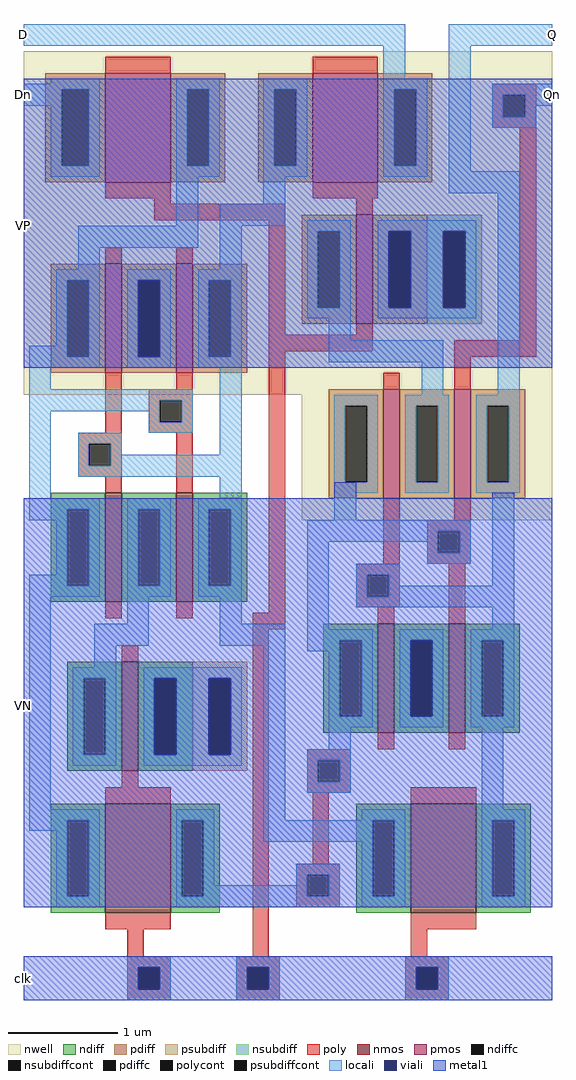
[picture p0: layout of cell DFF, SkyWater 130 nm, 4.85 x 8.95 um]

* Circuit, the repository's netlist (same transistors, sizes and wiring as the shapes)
* SPICE3 file created from DFF.ext - technology: sky130A


* Top level circuit DFF

X0 a_n450_100# a_n500_n700# a_n470_n440# VN sky130_fd_pr__nfet_01v8 ad=1e+12p pd=6e+06u as=1e+12p ps=6e+06u w=1e+06u l=150000u
X1 VN Q Qn VN sky130_fd_pr__nfet_01v8 ad=1e+12p pd=6e+06u as=9.5e+11p ps=5.9e+06u w=1e+06u l=150000u
X2 a_n40_380# Q Qn VP sky130_fd_pr__pfet_01v8 ad=1e+12p pd=6e+06u as=5e+11p ps=3e+06u w=1e+06u l=150000u
X3 Q Qn a_n40_380# VP sky130_fd_pr__pfet_01v8 ad=5e+11p pd=3e+06u as=0p ps=0u w=1e+06u l=150000u
X4 Qn clk a_n500_n700# VN sky130_fd_pr__nfet_01v8 ad=0p pd=0u as=1e+12p ps=6e+06u w=1e+06u l=600000u
X5 VP clk a_n40_380# VP sky130_fd_pr__pfet_01v8 ad=1e+12p pd=6e+06u as=0p ps=0u w=1e+06u l=150000u
X6 a_n450_100# a_n500_n700# VP VP sky130_fd_pr__pfet_01v8 ad=1e+12p pd=6e+06u as=0p ps=0u w=1e+06u l=150000u
X7 a_n470_n440# a_n450_100# a_n500_n700# VN sky130_fd_pr__nfet_01v8 ad=0p pd=0u as=0p ps=0u w=1e+06u l=150000u
X8 Q Qn VN VN sky130_fd_pr__nfet_01v8 ad=1e+12p pd=6e+06u as=0p ps=0u w=1e+06u l=150000u
X9 VP a_n450_100# a_n500_n700# VP sky130_fd_pr__pfet_01v8 ad=0p pd=0u as=1e+12p ps=6e+06u w=1e+06u l=150000u
X10 Q clk a_n450_100# VN sky130_fd_pr__nfet_01v8 ad=0p pd=0u as=0p ps=0u w=1e+06u l=600000u
X11 a_n500_n700# clk Dn VP sky130_fd_pr__pfet_01v8 ad=0p pd=0u as=5.5e+11p ps=3.1e+06u w=1e+06u l=600000u
X12 VN clk a_n470_n440# VN sky130_fd_pr__nfet_01v8 ad=0p pd=0u as=0p ps=0u w=1e+06u l=150000u
X13 D clk a_n450_100# VP sky130_fd_pr__pfet_01v8 ad=5e+11p pd=3e+06u as=0p ps=0u w=1e+06u l=600000u
.end

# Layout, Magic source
magic
tech sky130A
<< nwell >>
rect -275 125 210 440
rect -20 10 210 125
<< nmos >>
rect -200 -65 -185 35
rect -135 -65 -120 35
rect -185 -220 -170 -120
rect -200 -350 -140 -250
rect 50 -185 65 -85
rect 115 -185 130 -85
rect 80 -350 140 -250
<< pmos >>
rect -200 320 -140 420
rect -10 320 50 420
rect -200 145 -185 245
rect -135 145 -120 245
rect 30 190 45 290
rect 55 30 70 130
rect 120 30 135 130
<< ndiff >>
rect -250 20 -200 35
rect -250 -50 -235 20
rect -215 -50 -200 20
rect -250 -65 -200 -50
rect -185 20 -135 35
rect -185 -50 -170 20
rect -150 -50 -135 20
rect -185 -65 -135 -50
rect -120 20 -70 35
rect -120 -50 -105 20
rect -85 -50 -70 20
rect -120 -65 -70 -50
rect -235 -135 -185 -120
rect -235 -205 -220 -135
rect -200 -205 -185 -135
rect -235 -220 -185 -205
rect -170 -135 -120 -120
rect -170 -205 -155 -135
rect -135 -205 -120 -135
rect -170 -220 -120 -205
rect -250 -265 -200 -250
rect -250 -335 -235 -265
rect -215 -335 -200 -265
rect -250 -350 -200 -335
rect -140 -265 -95 -250
rect -140 -335 -130 -265
rect -110 -335 -95 -265
rect -140 -350 -95 -335
rect 0 -100 50 -85
rect 0 -170 15 -100
rect 35 -170 50 -100
rect 0 -185 50 -170
rect 65 -100 115 -85
rect 65 -170 80 -100
rect 100 -170 115 -100
rect 65 -185 115 -170
rect 130 -100 180 -85
rect 130 -170 145 -100
rect 165 -170 180 -100
rect 130 -185 180 -170
rect 30 -265 80 -250
rect 30 -335 45 -265
rect 65 -335 80 -265
rect 30 -350 80 -335
rect 140 -265 190 -250
rect 140 -335 155 -265
rect 175 -335 190 -265
rect 140 -350 190 -335
<< pdiff >>
rect -255 405 -200 420
rect -255 335 -240 405
rect -215 335 -200 405
rect -255 320 -200 335
rect -140 405 -90 420
rect -140 335 -125 405
rect -105 335 -90 405
rect -140 320 -90 335
rect -60 405 -10 420
rect -60 335 -45 405
rect -25 335 -10 405
rect -60 320 -10 335
rect 50 405 100 420
rect 50 335 65 405
rect 85 335 100 405
rect 50 320 100 335
rect -250 230 -200 245
rect -250 160 -235 230
rect -215 160 -200 230
rect -250 145 -200 160
rect -185 230 -135 245
rect -185 160 -170 230
rect -150 160 -135 230
rect -185 145 -135 160
rect -120 230 -70 245
rect -120 160 -105 230
rect -85 160 -70 230
rect -120 145 -70 160
rect -20 275 30 290
rect -20 205 -5 275
rect 15 205 30 275
rect -20 190 30 205
rect 45 275 95 290
rect 45 205 60 275
rect 80 205 95 275
rect 45 190 95 205
rect 5 115 55 130
rect 5 45 20 115
rect 40 45 55 115
rect 5 30 55 45
rect 70 115 120 130
rect 70 45 85 115
rect 105 45 120 115
rect 70 30 120 45
rect 135 115 185 130
rect 135 45 150 115
rect 170 45 185 115
rect 135 30 185 45
<< ndiffc >>
rect -235 -50 -215 20
rect -170 -50 -150 20
rect -105 -50 -85 20
rect -220 -205 -200 -135
rect -155 -205 -135 -135
rect -235 -335 -215 -265
rect -130 -335 -110 -265
rect 15 -170 35 -100
rect 80 -170 100 -100
rect 145 -170 165 -100
rect 45 -335 65 -265
rect 155 -335 175 -265
<< pdiffc >>
rect -240 335 -215 405
rect -125 335 -105 405
rect -45 335 -25 405
rect 65 335 85 405
rect -235 160 -215 230
rect -170 160 -150 230
rect -105 160 -85 230
rect -5 205 15 275
rect 60 205 80 275
rect 20 45 40 115
rect 85 45 105 115
rect 150 45 170 115
<< psubdiff >>
rect -120 -135 -70 -120
rect -120 -205 -105 -135
rect -85 -205 -70 -135
rect -120 -220 -70 -205
<< nsubdiff >>
rect 95 275 145 290
rect 95 205 110 275
rect 130 205 145 275
rect 95 190 145 205
<< psubdiffcont >>
rect -105 -205 -85 -135
<< nsubdiffcont >>
rect 110 205 130 275
<< poly >>
rect -200 420 -140 435
rect -10 420 50 435
rect 155 400 195 410
rect 155 380 165 400
rect 185 380 195 400
rect 155 370 195 380
rect -200 305 -140 320
rect -10 305 50 320
rect -155 300 -140 305
rect -155 285 -35 300
rect 30 290 45 305
rect -200 245 -185 260
rect -135 245 -120 260
rect -50 180 -35 285
rect 30 180 45 190
rect -50 165 45 180
rect 180 175 195 370
rect -200 90 -185 145
rect -135 130 -120 145
rect -160 120 -120 130
rect -160 100 -150 120
rect -130 100 -120 120
rect -160 90 -120 100
rect -225 80 -185 90
rect -225 60 -215 80
rect -195 60 -185 80
rect -225 50 -185 60
rect -200 35 -185 50
rect -135 35 -120 90
rect -200 -80 -185 -65
rect -135 -80 -120 -65
rect -50 -75 -35 165
rect 120 160 195 175
rect 55 130 70 145
rect 120 130 135 160
rect 55 -30 70 30
rect 120 10 135 30
rect 95 0 135 10
rect 95 -20 105 0
rect 125 -20 135 0
rect 95 -30 135 -20
rect 30 -40 70 -30
rect 30 -60 40 -40
rect 60 -60 70 -40
rect 30 -70 70 -60
rect -65 -90 -35 -75
rect 50 -85 65 -70
rect 115 -85 130 -30
rect -185 -120 -170 -105
rect -185 -235 -170 -220
rect -200 -250 -140 -235
rect -200 -365 -140 -350
rect -180 -390 -165 -365
rect -65 -390 -50 -90
rect 50 -200 65 -185
rect 115 -200 130 -185
rect -15 -210 25 -200
rect -15 -230 -5 -210
rect 15 -230 25 -210
rect -15 -240 25 -230
rect -10 -305 5 -240
rect 80 -250 140 -235
rect -25 -315 15 -305
rect -25 -335 -15 -315
rect 5 -335 15 -315
rect -25 -345 15 -335
rect 80 -365 140 -350
rect 80 -390 95 -365
rect -180 -400 -140 -390
rect -180 -420 -170 -400
rect -150 -420 -140 -400
rect -180 -430 -140 -420
rect -80 -400 -40 -390
rect -80 -420 -70 -400
rect -50 -420 -40 -400
rect -80 -430 -40 -420
rect 75 -400 115 -390
rect 75 -420 85 -400
rect 105 -420 115 -400
rect 75 -430 115 -420
<< polycont >>
rect 165 380 185 400
rect -150 100 -130 120
rect -215 60 -195 80
rect 105 -20 125 0
rect 40 -60 60 -40
rect -5 -230 15 -210
rect -15 -335 5 -315
rect -170 -420 -150 -400
rect -70 -420 -50 -400
rect 85 -420 105 -400
<< locali >>
rect -275 445 75 465
rect 55 415 75 445
rect 115 445 210 465
rect -250 410 -205 415
rect -275 405 -205 410
rect -275 390 -240 405
rect -250 335 -240 390
rect -215 335 -205 405
rect -250 325 -205 335
rect -135 405 -95 415
rect -135 335 -125 405
rect -105 335 -95 405
rect -135 325 -95 335
rect -55 405 -15 415
rect -55 335 -45 405
rect -25 335 -15 405
rect -55 325 -15 335
rect 55 405 95 415
rect 55 335 65 405
rect 85 335 95 405
rect 55 325 95 335
rect 115 330 135 445
rect 155 400 210 410
rect 155 380 165 400
rect 185 390 210 400
rect 185 380 195 390
rect 155 370 195 380
rect -135 280 -115 325
rect -55 300 -35 325
rect 115 310 180 330
rect -225 260 -115 280
rect -95 280 -35 300
rect -225 240 -205 260
rect -95 240 -75 280
rect -245 230 -205 240
rect -245 170 -235 230
rect -270 160 -235 170
rect -215 160 -205 230
rect -270 150 -205 160
rect -180 230 -140 240
rect -180 160 -170 230
rect -150 160 -140 230
rect -180 150 -140 160
rect -115 230 -75 240
rect -115 160 -105 230
rect -85 160 -75 230
rect -15 275 25 285
rect -15 205 -5 275
rect 15 205 25 275
rect -15 195 25 205
rect 50 275 140 285
rect 50 205 60 275
rect 80 205 110 275
rect 130 205 140 275
rect 50 195 140 205
rect -115 150 -75 160
rect 5 175 25 195
rect 5 155 110 175
rect -270 130 -250 150
rect -270 120 -120 130
rect -270 110 -150 120
rect -270 30 -250 110
rect -160 100 -150 110
rect -130 100 -120 120
rect -160 90 -120 100
rect -225 80 -185 90
rect -225 60 -215 80
rect -195 70 -185 80
rect -95 70 -75 150
rect 90 125 110 155
rect 160 125 180 310
rect -195 60 -75 70
rect -225 50 -75 60
rect -95 30 -75 50
rect -270 20 -205 30
rect -270 10 -235 20
rect -245 -40 -235 10
rect -270 -50 -235 -40
rect -215 -50 -205 20
rect -270 -60 -205 -50
rect -180 20 -140 30
rect -180 -50 -170 20
rect -150 -50 -140 20
rect -180 -60 -140 -50
rect -115 20 -75 30
rect -115 -50 -105 20
rect -85 -50 -75 20
rect 10 115 50 125
rect 10 45 20 115
rect 40 45 50 115
rect 10 35 50 45
rect 75 115 115 125
rect 75 45 85 115
rect 105 45 115 115
rect 75 35 115 45
rect 140 115 180 125
rect 140 45 150 115
rect 170 45 180 115
rect 140 35 180 45
rect 10 10 30 35
rect -115 -60 -75 -50
rect -270 -255 -250 -60
rect -180 -85 -160 -60
rect -210 -105 -160 -85
rect -95 -85 -75 -60
rect -15 0 135 10
rect -15 -10 105 0
rect -95 -105 -35 -85
rect -210 -125 -190 -105
rect -230 -135 -190 -125
rect -230 -205 -220 -135
rect -200 -205 -190 -135
rect -230 -215 -190 -205
rect -165 -135 -75 -125
rect -165 -205 -155 -135
rect -135 -205 -105 -135
rect -85 -205 -75 -135
rect -165 -215 -75 -205
rect -270 -265 -205 -255
rect -270 -275 -235 -265
rect -245 -335 -235 -275
rect -215 -335 -205 -265
rect -245 -345 -205 -335
rect -135 -265 -100 -255
rect -135 -335 -130 -265
rect -110 -325 -100 -265
rect -55 -265 -35 -105
rect -15 -90 5 -10
rect 95 -20 105 -10
rect 125 -20 135 0
rect 95 -30 135 -20
rect 30 -40 70 -30
rect 30 -60 40 -40
rect 60 -50 70 -40
rect 155 -50 175 35
rect 60 -60 175 -50
rect 30 -70 175 -60
rect 155 -90 175 -70
rect -15 -100 45 -90
rect -15 -110 15 -100
rect 5 -170 15 -110
rect 35 -170 45 -100
rect 5 -180 45 -170
rect 70 -100 110 -90
rect 70 -170 80 -100
rect 100 -170 110 -100
rect 70 -180 110 -170
rect 135 -100 175 -90
rect 135 -170 145 -100
rect 165 -170 175 -100
rect 135 -180 175 -170
rect 5 -200 25 -180
rect -15 -210 25 -200
rect -15 -230 -5 -210
rect 15 -230 25 -210
rect -15 -240 25 -230
rect 145 -255 165 -180
rect 35 -265 75 -255
rect -55 -285 45 -265
rect -25 -315 15 -305
rect -25 -325 -15 -315
rect -110 -335 -15 -325
rect 5 -335 15 -315
rect -135 -345 15 -335
rect 35 -335 45 -285
rect 65 -335 75 -265
rect 35 -345 75 -335
rect 145 -265 185 -255
rect 145 -335 155 -265
rect 175 -335 185 -265
rect 145 -345 185 -335
rect -180 -400 -140 -390
rect -180 -420 -170 -400
rect -150 -420 -140 -400
rect -180 -430 -140 -420
rect -80 -400 -40 -390
rect -80 -420 -70 -400
rect -50 -420 -40 -400
rect -80 -430 -40 -420
rect 75 -400 115 -390
rect 75 -420 85 -400
rect 105 -420 115 -400
rect 75 -430 115 -420
<< viali >>
rect -170 160 -150 230
rect 60 205 80 275
rect 110 205 130 275
rect -155 -205 -135 -135
rect -105 -205 -85 -135
rect 80 -170 100 -100
rect -170 -420 -150 -400
rect -70 -420 -50 -400
rect 85 -420 105 -400
<< metal1 >>
rect -275 275 210 415
rect -275 230 60 275
rect -275 160 -170 230
rect -150 205 60 230
rect 80 205 110 275
rect 130 205 210 275
rect -150 160 210 205
rect -275 150 210 160
rect 10 30 30 45
rect 155 30 175 35
rect -275 -100 210 30
rect -275 -135 80 -100
rect -275 -205 -155 -135
rect -135 -205 -105 -135
rect -85 -170 80 -135
rect 100 -170 210 -100
rect -85 -205 210 -170
rect -275 -345 210 -205
rect -275 -400 210 -390
rect -275 -420 -170 -400
rect -150 -420 -70 -400
rect -50 -420 85 -400
rect 105 -420 210 -400
rect -275 -430 210 -420
<< labels >>
rlabel metal1 -275 -410 -275 -410 7 clk
port 5 w
rlabel metal1 -275 -160 -275 -160 7 VN
port 4 w
rlabel locali -275 455 -275 455 7 D
port 1 w
rlabel metal1 -275 280 -275 280 7 VP
port 3 w
rlabel locali -275 400 -275 400 7 Dn
port 2 w
rlabel locali 210 400 210 400 3 Qn
port 7 e
rlabel locali 210 455 210 455 3 Q
port 6 e
<< end >>
